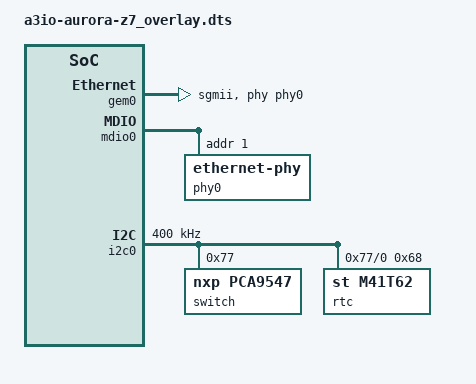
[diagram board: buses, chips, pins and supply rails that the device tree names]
/dts-v1/;
/plugin/;

#include <dt-bindings/input/input.h>
#include <dt-bindings/gpio/gpio.h>
#include <dt-bindings/pinctrl/pinctrl-zynqmp.h>
#include <dt-bindings/phy/phy.h>

&gem0 {
    status = "okay";
    phy-handle = <&phy0>;
    phy-mode = "sgmii";
};

&mdio0 {
    phy0: ethernet-phy@1 {
        reg = <1>;
        device_type = "ethernet-phy";
    };
};

&gem1 {
    status = "disabled";
};

// enable carrier rtc
&i2c0 {
    status = "okay";
    clock-frequency = <400000>;

    switch@77 {
        compatible = "nxp,pca9547";
        #address-cells = <1>;
        #size-cells = <0>;
        reg = <0x77>;

        i2c@0 {
            #address-cells = <1>;
            #size-cells = <0>;
            reg = <0>;

            rtc@68 {
                compatible = "st,m41t62";
                reg = <0x68>;
            };
        };
    };
};

